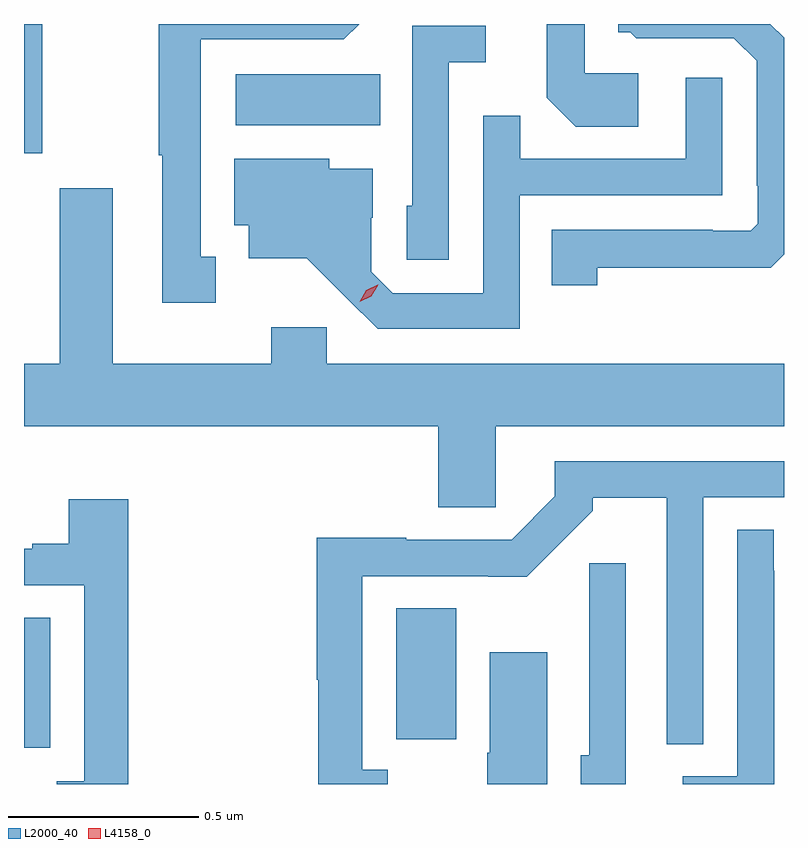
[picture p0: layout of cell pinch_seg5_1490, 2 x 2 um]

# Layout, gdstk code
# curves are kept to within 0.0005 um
import gdstk
lib = gdstk.Library(unit=1e-6, precision=1e-09)
def R(c, l, rs):  # rectangles x0, y0, x1, y1
    for r in rs: c.add(gdstk.rectangle(r[:2], r[2:], *l))
def P(c, l, *ps):  # polygons
    for p in ps: c.add(gdstk.Polygon(p, *l))
L2000_40 = (2000, 40)
L4158_0 = (4158, 0)

pinch_seg5_1490 = lib.new_cell('pinch_seg5_1490')
R(pinch_seg5_1490, L2000_40, [(158.353,878.557,158.422,878.9), (159.332,878.58,159.49,878.924), (158.353,880.122,158.401,880.462), (158.91,880.196,159.29,880.33)])
P(pinch_seg5_1490, L2000_40, [(158.857,879.849),(158.818,879.849),(158.818,880.422),(159.195,880.422),(159.235,880.462),(158.707,880.462),(158.707,880.117),(158.717,880.117),(158.717,879.729),(158.857,879.729)],
  [(159.97,880.332),(159.828,880.332),(159.828,880.462),(159.729,880.462),(159.729,880.268),(159.805,880.192),(159.97,880.192)],
  [(159.861,879.82),(160.217,879.82),(160.217,879.821),(160.318,879.821),(160.353,879.856),(160.353,880.426),(160.317,880.462),(159.917,880.462),(159.917,880.44),(159.948,880.44),(159.964,880.424),(160.098,880.424),(160.098,880.425),(160.221,880.425),(160.281,880.365),(160.281,880.036),(160.284,880.036),(160.284,879.936),(160.266,879.918),(160.166,879.918),(160.166,879.921),(159.742,879.921),(159.742,879.774),(159.861,879.774)],
  [(159.471,880.361),(159.568,880.361),(159.568,880.458),(159.375,880.458),(159.375,879.984),(159.36,879.984),(159.36,879.841),(159.471,879.841)],
  [(159.657,880.011),(160.191,880.011),(160.191,880.321),(160.095,880.321),(160.095,880.107),(159.659,880.107),(159.659,880.22),(159.561,880.22),(159.561,879.753),(159.324,879.753),(159.267,879.81),(159.267,879.952),(159.271,879.952),(159.271,880.081),(159.156,880.081),(159.156,880.108),(158.906,880.108),(158.906,879.932),(158.945,879.932),(158.945,879.845),(159.097,879.845),(159.284,879.66),(159.657,879.66)],
  [(159.594,879.404),(160.353,879.404),(160.353,879.568),(159.15,879.568),(159.15,879.664),(159.004,879.664),(159.004,879.568),(158.587,879.568),(158.587,880.03),(158.447,880.03),(158.447,879.568),(158.353,879.568),(158.353,879.404),(159.443,879.404),(159.443,879.19),(159.594,879.19)],
  [(159.31,878.499),(159.243,878.499),(159.243,879.009),(159.575,879.009),(159.575,879.008),(159.676,879.008),(159.85,879.181),(159.85,879.215),(160.044,879.215),(160.044,878.567),(160.14,878.567),(160.14,879.216),(160.353,879.216),(160.353,879.312),(159.75,879.312),(159.75,879.219),(159.636,879.105),(159.359,879.105),(159.359,879.11),(159.123,879.11),(159.123,878.736),(159.127,878.736),(159.127,878.462),(159.31,878.462)],
  [(158.627,879.211),(158.471,879.211),(158.471,879.094),(158.375,879.094),(158.375,879.081),(158.353,879.081),(158.353,878.985),(158.511,878.985),(158.511,878.469),(158.439,878.469),(158.439,878.462),(158.627,878.462)],
  [(160.327,879.023),(160.326,879.023),(160.326,879.131),(160.23,879.131),(160.23,878.482),(160.086,878.482),(160.086,878.462),(160.327,878.462)],
  [(159.936,879.043),(159.84,879.043),(159.84,878.538),(159.818,878.538),(159.818,878.462),(159.936,878.462)],
  [(159.73,878.809),(159.578,878.809),(159.578,878.544),(159.572,878.544),(159.572,878.462),(159.73,878.462)])
P(pinch_seg5_1490, L4158_0, [(159.236,879.731),(159.236,879.731),(159.254,879.761),(159.284,879.776),(159.285,879.776),(159.285,879.776),(159.267,879.746),(159.236,879.731)])

lib.write_gds('pinch_seg5_1490.gds')
